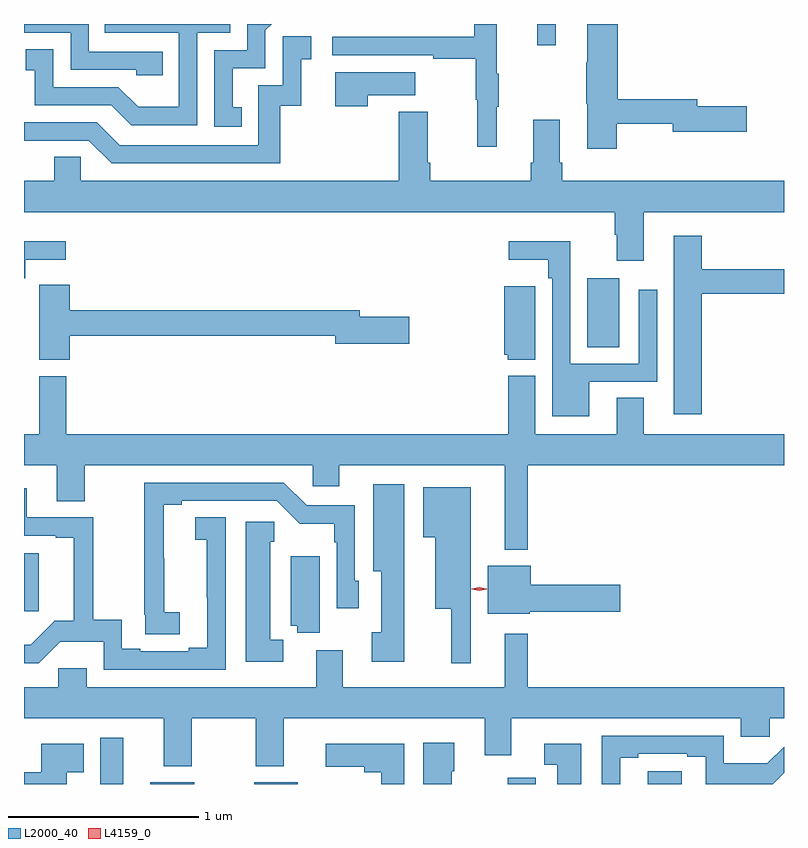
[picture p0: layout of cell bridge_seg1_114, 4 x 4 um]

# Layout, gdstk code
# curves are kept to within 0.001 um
import gdstk
lib = gdstk.Library(unit=1e-6, precision=1e-09)
def R(c, l, rs):  # rectangles x0, y0, x1, y1
    for r in rs: c.add(gdstk.rectangle(r[:2], r[2:], *l))
def P(c, l, *ps):  # polygons
    for p in ps: c.add(gdstk.Polygon(p, *l))
L2000_40 = (2000, 40)
L4159_0 = (4159, 0)

bridge_seg1_114 = lib.new_cell('bridge_seg1_114')
R(bridge_seg1_114, L2000_40, [(125.033,547.39,125.155,547.633), (125.297,547.39,125.53,547.399), (125.844,547.39,126.073,547.399), (127.178,547.39,127.327,547.423), (127.917,547.39,128.096,547.457), (124.633,548.3,124.711,548.605), (127.598,549.688,127.765,550.051), (127.335,551.277,127.432,551.39)])
P(bridge_seg1_114, L2000_40, [(125.544,551.343),(125.718,551.343),(125.718,551.39),(125.059,551.39),(125.059,551.343),(125.448,551.343),(125.448,550.954),(125.234,550.954),(125.13,551.058),(124.788,551.058),(124.788,551.257),(124.641,551.257),(124.641,551.147),(124.69,551.147),(124.69,550.962),(125.093,550.962),(125.198,550.857),(125.544,550.857)],
  [(125.363,551.244),(124.974,551.244),(124.974,551.39),(124.633,551.39),(124.633,551.343),(124.878,551.343),(124.878,551.148),(125.223,551.148),(125.223,551.121),(125.363,551.121)],
  [(127.121,550.955),(127.132,550.955),(127.132,551.129),(127.121,551.129),(127.121,551.39),(127.003,551.39),(127.003,551.322),(126.255,551.322),(126.255,551.226),(126.787,551.226),(126.787,551.206),(127.011,551.206),(127.011,550.992),(127.018,550.992),(127.018,550.743),(127.121,550.743)],
  [(127.752,550.866),(128.048,550.866),(128.048,550.823),(128.437,550.823),(128.437,550.958),(128.176,550.958),(128.176,550.994),(127.757,550.994),(127.757,551.39),(127.598,551.39),(127.598,551.189),(127.591,551.189),(127.591,550.971),(127.598,550.971),(127.598,550.734),(127.752,550.734)],
  [(125.78,550.953),(125.731,550.953),(125.731,551.157),(125.904,551.157),(125.904,551.358),(125.936,551.39),(125.808,551.39),(125.808,551.253),(125.634,551.253),(125.634,550.848),(125.78,550.848)],
  [(125.981,550.959),(126.092,550.959),(126.092,551.205),(126.145,551.205),(126.145,551.326),(125.994,551.326),(125.994,551.067),(125.865,551.067),(125.865,550.752),(125.136,550.752),(125.016,550.872),(124.633,550.872),(124.633,550.776),(124.974,550.776),(125.094,550.656),(125.981,550.656)],
  [(126.443,551.015),(126.691,551.015),(126.691,551.137),(126.272,551.137),(126.272,550.956),(126.443,550.956)],
  [(127.894,550.4),(128.633,550.4),(128.633,550.564),(127.466,550.564),(127.466,550.66),(127.453,550.66),(127.453,550.885),(127.313,550.885),(127.313,550.66),(127.301,550.66),(127.301,550.564),(126.77,550.564),(126.77,550.66),(126.757,550.66),(126.757,550.927),(126.605,550.927),(126.605,550.564),(124.932,550.564),(124.932,550.691),(124.793,550.691),(124.793,550.564),(124.633,550.564),(124.633,550.4),(127.742,550.4),(127.742,550.28),(127.754,550.28),(127.754,550.143),(127.894,550.143)],
  [(128.201,549.97),(128.633,549.97),(128.633,550.099),(128.201,550.099),(128.201,550.276),(128.054,550.276),(128.054,549.336),(128.201,549.336)],
  [(127.609,549.507),(127.965,549.507),(127.965,549.991),(127.869,549.991),(127.869,549.603),(127.509,549.603),(127.509,550.246),(127.185,550.246),(127.185,550.148),(127.393,550.148),(127.393,550.052),(127.413,550.052),(127.413,549.326),(127.609,549.326)],
  [(124.639,550.148),(124.852,550.148),(124.852,550.246),(124.633,550.246),(124.633,550.052),(124.639,550.052)],
  [(124.874,549.748),(126.272,549.748),(126.272,549.706),(126.661,549.706),(126.661,549.848),(126.4,549.848),(126.4,549.884),(124.874,549.884),(124.874,550.018),(124.713,550.018),(124.713,549.905),(124.712,549.905),(124.712,549.622),(124.874,549.622)],
  [(127.324,550.009),(127.16,550.009),(127.16,549.648),(127.179,549.648),(127.179,549.623),(127.324,549.623)],
  [(124.856,549.537),(124.712,549.537),(124.712,549.232),(124.633,549.232),(124.633,549.068),(124.805,549.068),(124.805,548.878),(124.953,548.878),(124.953,549.068),(126.153,549.068),(126.153,548.958),(126.292,548.958),(126.292,549.068),(127.163,549.068),(127.163,548.624),(127.285,548.624),(127.285,549.068),(128.633,549.068),(128.633,549.232),(127.894,549.232),(127.894,549.422),(127.754,549.422),(127.754,549.232),(127.324,549.232),(127.324,549.538),(127.181,549.538),(127.181,549.232),(124.856,549.232)],
  [(125.452,548.294),(125.37,548.294),(125.368,548.86),(125.464,548.86),(125.464,548.88),(125.964,548.88),(126.085,548.759),(126.267,548.759),(126.267,548.663),(126.279,548.663),(126.279,548.316),(126.396,548.316),(126.396,548.46),(126.375,548.46),(126.375,548.856),(126.12,548.856),(126,548.976),(125.266,548.976),(125.266,548.281),(125.272,548.281),(125.272,548.179),(125.452,548.179)],
  [(126.634,548.968),(126.47,548.968),(126.47,548.51),(126.512,548.51),(126.512,548.19),(126.462,548.19),(126.462,548.034),(126.634,548.034)],
  [(126.985,548.953),(126.734,548.953),(126.734,548.69),(126.797,548.69),(126.797,548.312),(126.881,548.312),(126.881,548.025),(126.985,548.025)],
  [(125.694,548.795),(125.535,548.795),(125.535,548.675),(125.596,548.675),(125.597,548.108),(125.501,548.108),(125.501,548.088),(125.245,548.088),(125.245,548.102),(125.148,548.102),(125.148,548.255),(124.997,548.255),(124.997,548.793),(124.648,548.793),(124.648,548.947),(124.633,548.947),(124.633,548.697),(124.799,548.697),(124.799,548.685),(124.895,548.685),(124.895,548.248),(124.795,548.248),(124.669,548.122),(124.633,548.122),(124.633,548.025),(124.71,548.025),(124.823,548.138),(125.052,548.138),(125.052,547.992),(125.694,547.992)],
  [(125.998,548.148),(125.929,548.148),(125.929,548.664),(125.951,548.664),(125.951,548.77),(125.801,548.77),(125.801,548.033),(125.998,548.033)],
  [(126.19,548.59),(126.038,548.59),(126.038,548.222),(126.07,548.222),(126.07,548.185),(126.19,548.185)],
  [(127.296,548.296),(127.771,548.296),(127.771,548.438),(127.3,548.438),(127.3,548.539),(127.073,548.539),(127.073,548.285),(127.296,548.285)],
  [(125.517,547.736),(125.854,547.736),(125.854,547.484),(126.001,547.484),(126.001,547.736),(127.058,547.736),(127.058,547.542),(127.198,547.542),(127.198,547.736),(128.405,547.736),(128.405,547.638),(128.557,547.638),(128.557,547.736),(128.633,547.736),(128.633,547.9),(127.285,547.9),(127.285,548.182),(127.163,548.182),(127.163,547.9),(126.31,547.9),(126.31,548.095),(126.17,548.095),(126.17,547.9),(124.963,547.9),(124.963,547.998),(124.812,547.998),(124.812,547.9),(124.633,547.9),(124.633,547.736),(125.369,547.736),(125.369,547.484),(125.517,547.484)],
  [(127.771,547.528),(127.867,547.528),(127.867,547.548),(128.123,547.548),(128.123,547.534),(128.22,547.534),(128.22,547.39),(128.574,547.39),(128.633,547.449),(128.633,547.586),(128.545,547.498),(128.316,547.498),(128.316,547.644),(127.674,547.644),(127.674,547.39),(127.771,547.39)],
  [(126.885,547.458),(126.898,547.458),(126.898,547.606),(126.734,547.606),(126.734,547.39),(126.885,547.39)],
  [(124.858,547.451),(124.948,547.451),(124.948,547.603),(124.724,547.603),(124.724,547.453),(124.633,547.453),(124.633,547.39),(124.858,547.39)],
  [(126.634,547.603),(126.222,547.603),(126.222,547.481),(126.425,547.481),(126.425,547.451),(126.512,547.451),(126.512,547.39),(126.634,547.39)],
  [(127.567,547.603),(127.371,547.603),(127.371,547.491),(127.439,547.491),(127.439,547.39),(127.567,547.39)])
P(bridge_seg1_114, L4159_0, [(127.028,548.406),(126.989,548.416),(126.989,548.417),(126.989,548.417),(127.028,548.426),(127.068,548.417),(127.068,548.416),(127.068,548.416)])

lib.write_gds('bridge_seg1_114.gds')
